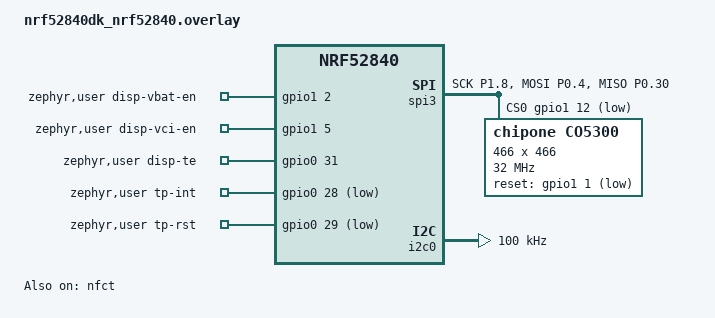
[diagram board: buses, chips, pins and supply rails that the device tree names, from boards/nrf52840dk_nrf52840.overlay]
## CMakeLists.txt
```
# Rev B bench firmware: AMOLED shield and NFC on an nRF52840-DK.
cmake_minimum_required(VERSION 3.20.0)

find_package(Zephyr REQUIRED HINTS $ENV{ZEPHYR_BASE})
project(dial_bench)

target_sources(app PRIVATE
	src/main.c
	src/power.c
	src/panel.c
	src/touch.c
	src/nfc.c
)
```

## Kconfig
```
# Rev B bench firmware options.

mainmenu "dial-me-spinner rev B bench"

config BENCH_AUTO_POWERUP
	bool "Run the panel bring-up sequence at boot"
	default y
	help
	  Switch VBAT on, then VCI_EN, then initialise the CO5300 and show
	  colour bars, logging each step. Turn it off to start with the panel
	  unpowered and run "power up" by hand, e.g. with a PPK2 already logging.

config BENCH_VBAT_SETTLE_MS
	int "Wait after DISP_VBAT_EN before VCI_EN (ms)"
	default 10
	help
	  U1 (TPS22917, CT = 1 nF) reaches 90 % in about 4 ms (SLVSDW8B 7.6,
	  3.8-4 us/pF). 10 ms leaves margin. Measure on the bench.

config BENCH_VCI_SETTLE_MS
	int "Wait after VCI_EN before the panel reset and init (ms)"
	default 20
	help
	  Time for the tail's power chip (BV6802W, no datasheet found) to bring
	  up the AMOLED rails. A guess: measure it on the bench.

config BENCH_SLPOUT_MS
	int "Wait after sleep-out (11h) before display-on (29h) (ms)"
	default 120
	help
	  The usual DCS figure. The Zephyr driver sends 29h straight after 11h,
	  so the app sends 29h again after this wait.

source "Kconfig.zephyr"
```

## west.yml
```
# Minimal west manifest for the rev B bench firmware.
#
# Zephyr v4.5.0-rc3 is the first tag whose chipone,co5300 driver speaks SPI
# (commit 2afc59f6, "drivers: display: co5300: add SPI bus support"). v4.4.2,
# the newest final release, has only the MIPI-DSI variant. Move to v4.5.0 when
# it is tagged.
#
# Only the modules an nRF52840 build needs are fetched (name-allowlist), not
# the ~70 projects of a full `west update`. setup-zephyr.sh copies this file
# to ~/zephyrproject/manifest/west.yml and runs `west init -l` on it.
manifest:
  remotes:
    - name: zephyrproject-rtos
      url-base: https://github.com/zephyrproject-rtos

  projects:
    - name: zephyr
      remote: zephyrproject-rtos
      revision: v4.5.0-rc3
      import:
        name-allowlist:
          - cmsis        # CMSIS-Core headers
          - cmsis_6      # CMSIS 6, used by Cortex-M builds
          - hal_nordic   # nrfx: SPIM, TWIM, GPIOTE, NFCT

  self:
    path: manifest
```

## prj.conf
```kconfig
# Rev B bench firmware, nRF52840-DK. Shell and log share the DK VCOM (uart0, 115200):
# the shell carries the log, so there is no separate UART log backend.

CONFIG_GPIO=y
CONFIG_SPI=y
CONFIG_I2C=y
CONFIG_DISPLAY=y

# nrfx NFCT driven directly by the app's Type 2 tag (src/nfc.c).
CONFIG_NRFX_NFCT=y

CONFIG_SHELL=y
CONFIG_SHELL_STACK_SIZE=4096
CONFIG_SHELL_CMD_BUFF_SIZE=128
CONFIG_SHELL_ARGC_MAX=20
CONFIG_I2C_SHELL=y
CONFIG_GPIO_SHELL=y

CONFIG_LOG=y
CONFIG_LOG_BUFFER_SIZE=2048

CONFIG_MAIN_STACK_SIZE=4096

# DWT cycle counter for TE and frame timing (64 MHz, rather than the 32 kHz RTC).
CONFIG_TIMING_FUNCTIONS=y

CONFIG_REBOOT=y
```

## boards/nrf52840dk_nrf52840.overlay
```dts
/*
 * Rev B bench: the AMOLED shield (hardware/kicad/bench_display) on an nRF52840-DK.
 *
 * Pins are the shield's DK_PINS (hardware/design/sheets/bench_display.py).
 * hardware/design/tests/test_bench_display.py holds this file to the routed
 * board's J1 nets and to SPEC §4's low-frequency pin list, so neither side can
 * drift alone.
 *
 * The two 32 MHz lines sit on the only full-speed header pins, SCK P1.08 (D7)
 * and SIO0 P0.04 (A1). Zephyr's arduino_spi pins (P1.13-P1.15) are
 * low-frequency pins, so SPIM3 gets its own pinctrl here.
 */

#include <zephyr/dt-bindings/display/panel.h>

/ {
	chosen {
		zephyr,display = &co5300;
	};

	zephyr,user {
		/* U1 TPS22917 ON. 100k pull-down (R2) holds VBAT off through reset. */
		disp-vbat-en-gpios = <&gpio1 2 GPIO_ACTIVE_HIGH>;	/* D1 */
		/* Panel VCI_EN, the tail's power chip. 100k pull-down (R9). */
		disp-vci-en-gpios = <&gpio1 5 GPIO_ACTIVE_HIGH>;	/* D4 */
		/*
		 * TE belongs to the app, not the driver: the driver's write waits on
		 * TE with K_FOREVER, so a panel that never pulses TE would hang the
		 * shell. The app times TE itself and syncs with a timeout.
		 */
		disp-te-gpios = <&gpio0 31 GPIO_ACTIVE_HIGH>;		/* A5 */
		/* Touch: open-drain, R22/R23 100k pull-ups to TP_VIO. */
		tp-int-gpios = <&gpio0 28 GPIO_ACTIVE_LOW>;		/* A2 */
		tp-rst-gpios = <&gpio0 29 GPIO_ACTIVE_LOW>;		/* A3 */
	};
};

&pinctrl {
	spi3_disp: spi3_disp {
		group1 {
			psels = <NRF_PSEL(SPIM_SCK, 1, 8)>,		/* D7, DISP_SCK */
				<NRF_PSEL(SPIM_MOSI, 0, 4)>;		/* A1, DISP_SIO0 */
			nordic,drive-mode = <NRF_DRIVE_H0H1>;
		};
		group2 {
			/* A4, DISP_SIO1: read-back only, on a low-frequency pin. */
			psels = <NRF_PSEL(SPIM_MISO, 0, 30)>;
		};
	};

	spi3_disp_sleep: spi3_disp_sleep {
		group1 {
			psels = <NRF_PSEL(SPIM_SCK, 1, 8)>,
				<NRF_PSEL(SPIM_MOSI, 0, 4)>,
				<NRF_PSEL(SPIM_MISO, 0, 30)>;
			low-power-enable;
		};
	};
};

/*
 * The DK enables spi1 on P0.31 (SCK), P0.30 (MOSI) and P1.08 (MISO): TE, SIO1
 * and the display SCK. Disable it. uart1 (arduino_serial, P1.01/P1.02, the
 * reset and VBAT_EN lines) is disabled in the DK's devicetree already; keep it so.
 */
&spi1 {
	status = "disabled";
};

&uart1 {
	status = "disabled";
};

&spi3 {
	status = "okay";
	pinctrl-0 = <&spi3_disp>;
	pinctrl-1 = <&spi3_disp_sleep>;
	pinctrl-names = "default", "sleep";
	cs-gpios = <&gpio1 12 GPIO_ACTIVE_LOW>;			/* D10, DISP_CS_N */

	co5300: display@0 {
		compatible = "chipone,co5300";
		reg = <0>;
		spi-max-frequency = <DT_FREQ_M(32)>;
		width = <466>;
		height = <466>;
		pixel-format = <PANEL_PIXEL_FORMAT_RGB_565>;
		reset-gpios = <&gpio1 1 GPIO_ACTIVE_LOW>;	/* D0, DISP_RES_N */
		/*
		 * The driver would init at boot, before the app has switched VBAT
		 * and VCI_EN on. The app calls device_init() after the rails.
		 */
		zephyr,deferred-init;
	};
};

/* Touch: arduino_i2c (i2c0) is already P0.26/P0.27 on the DK. TWIM for EasyDMA. */
&i2c0 {
	compatible = "nordic,nrf-twim";
	clock-frequency = <I2C_BITRATE_STANDARD>;
};

/* NFCT: the DK's own NFC antenna connector, P0.09/P0.10, already "okay". */
&nfct {
	status = "okay";
};
```

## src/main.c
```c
/*
 * Rev B bench firmware: the 1.75 in CO5300 AMOLED shield and the NFC bench
 * boards on an nRF52840-DK. See firmware/bench/README.md for the commands and
 * docs/rev-b-bench.md for the boards.
 */
#include <zephyr/kernel.h>
#include <zephyr/logging/log.h>

#include "bench.h"

LOG_MODULE_REGISTER(bench, LOG_LEVEL_INF);

int main(void)
{
	int ret;

	LOG_INF("dial-me-spinner rev B bench firmware");

	ret = power_init();
	if (ret < 0) {
		LOG_ERR("power rails: %d", ret);
		return 0;
	}
	ret = panel_init();
	if (ret < 0) {
		LOG_ERR("panel: %d", ret);
	}
	ret = touch_init();
	if (ret < 0) {
		LOG_WRN("touch: %d", ret);
	}
	ret = nfc_init();
	if (ret < 0) {
		LOG_WRN("nfc: %d", ret);
	}

	if (IS_ENABLED(CONFIG_BENCH_AUTO_POWERUP)) {
		ret = power_up();
		if (ret == 0) {
			(void)panel_test_bars();
		}
	} else {
		LOG_INF("panel unpowered (CONFIG_BENCH_AUTO_POWERUP=n): run \"power up\"");
	}

	LOG_INF("ready: type \"help\", or \"power\", \"disp\", \"te\", \"touch\", \"nfc\"");
	return 0;
}
```

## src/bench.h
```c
/*
 * Rev B bench firmware: shared declarations.
 */
#ifndef BENCH_H_
#define BENCH_H_

#include <stdbool.h>
#include <stdint.h>
#include <zephyr/devicetree.h>

#define DISP_NODE DT_NODELABEL(co5300)
#define USER_NODE DT_PATH(zephyr_user)

/* power.c */
int power_init(void);
int power_vbat(bool on);
int power_vci_en(bool on);
bool power_vbat_get(void);
bool power_vci_en_get(void);
/* Full bring-up: VBAT, VCI_EN, reset + init, sleep-out wait, display on. */
int power_up(void);
/* Display off, sleep in, VCI_EN low, VBAT off. */
int power_down(void);

/* panel.c */
int panel_init(void);
/* First init through the Zephyr driver (device_init on the deferred node). */
int panel_driver_init(void);
/* Re-init after a power cycle: the driver can only be initialised once. */
int panel_raw_init(void);
int panel_cmd(uint8_t cmd, const uint8_t *data, size_t len);
int panel_display_on(bool on);
int panel_test_bars(void);

/* touch.c */
int touch_init(void);

/* nfc.c */
int nfc_init(void);

#endif /* BENCH_H_ */
```

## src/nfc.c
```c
/*
 * NFC Type 2 tag on the nRF52840's NFCT, for the coil plate and base read-range
 * tests (docs/rev-b-bench.md §2, "Phones").
 *
 * The usual route is nrfxlib's nfc_t2t library, but nrfxlib is part of the nRF
 * Connect SDK, not of the Zephyr tree this app builds on. So this is a minimal
 * read-only Type 2 tag on nrfx_nfct (hal_nordic), which is: the NFCT hardware
 * does anticollision and CRC, and the app answers READ (30h) and HALT (50h).
 * That is all a phone needs to read an NDEF message from a static tag.
 * Nothing else is answered (no WRITE, no NTAG GET_VERSION), so a phone sees a
 * plain read-only Type 2 tag.
 *
 * Wiring: the plate's J2 to the DK's NFC connector (P0.09/P0.10). The DK
 * leaves UICR.NFCPINS in NFC mode.
 */
#include <stdlib.h>
#include <string.h>

#include <zephyr/drivers/clock_control/nrf_clock_control.h>
#include <zephyr/irq.h>
#include <zephyr/kernel.h>
#include <zephyr/logging/log.h>
#include <zephyr/shell/shell.h>

#include <nrfx_nfct.h>

#include "bench.h"

LOG_MODULE_REGISTER(nfc, LOG_LEVEL_INF);

#define T2T_READ 0x30
#define T2T_HALT 0x50
#define T2T_DATA_BYTES 128			/* CC size field = 128 / 8 */
#define T2T_MEM_BYTES (16 + T2T_DATA_BYTES)	/* 4 header blocks + data area */
#define NDEF_URI_HTTPS 0x04

static const char default_uri[] = "github.com/tyevco/dial-me-spinner";

static uint8_t mem[T2T_MEM_BYTES];
static uint8_t rx_buf[16];
static uint8_t tx_buf[16];
static uint8_t nfcid1[NRFX_NFCT_NFCID1_DOUBLE_SIZE];

static bool running;
static volatile uint32_t n_field, n_select, n_read, n_other, n_rxerr;
static const struct device *const hfclk = DEVICE_DT_GET(DT_NODELABEL(hfclk));

static void rx_next(void)
{
	nrfx_nfct_data_desc_t d = {.p_data = rx_buf, .data_size = sizeof(rx_buf)};

	(void)nrfx_nfct_rx(&d);
}

static void handle_frame(const nrfx_nfct_evt_rx_frameend_t *f)
{
	const uint8_t *p = f->rx_data.p_data;

	if (f->rx_status != 0 || f->rx_data.data_size == 0) {
		n_rxerr++;
		rx_next();
		return;
	}
	if (p[0] == T2T_READ && f->rx_data.data_size >= 2) {
		/* 16 bytes from block p[1], rolling over at the end of memory. */
		uint32_t off = (uint32_t)p[1] * 4U;

		for (int i = 0; i < 16; i++) {
			tx_buf[i] = mem[(off + i) % sizeof(mem)];
		}
		nrfx_nfct_data_desc_t d = {.p_data = tx_buf, .data_size = 16};

		n_read++;
		if (nrfx_nfct_tx(&d, NRF_NFCT_FRAME_DELAY_MODE_WINDOWGRID) != 0) {
			rx_next();
		}
		return;
	}
	if (p[0] == T2T_HALT) {
		nrfx_nfct_init_substate_force(NRFX_NFCT_ACTIVE_STATE_SLEEP);
		return;
	}
	/* Anything else: no answer, as a read-only tag that ignores it. */
	n_other++;
	rx_next();
}

static void nfct_handler(const nrfx_nfct_evt_t *evt)
{
	switch (evt->evt_id) {
	case NRFX_NFCT_EVT_FIELD_DETECTED:
		n_field++;
		/* HFXO is held on while the tag runs, so activate straight away. */
		nrfx_nfct_state_force(NRFX_NFCT_STATE_ACTIVATED);
		break;
	case NRFX_NFCT_EVT_SELECTED:
		n_select++;
		rx_next();
		break;
	case NRFX_NFCT_EVT_RX_FRAMEEND:
		handle_frame(&evt->params.rx_frameend);
		break;
	case NRFX_NFCT_EVT_TX_FRAMEEND:
		rx_next();
		break;
	case NRFX_NFCT_EVT_FIELD_LOST:
	default:
		break;
	}
}

/* Lay out the tag memory: UID, lock bytes, CC, then an NDEF TLV with one URI record. */
static int build_tag(const char *uri)
{
	size_t ul = strlen(uri);
	size_t payload = 1 + ul;			/* URI prefix code + text */
	size_t rec = 4 + payload;			/* short record header */
	uint8_t *d = &mem[16];

	if (3 + rec > T2T_DATA_BYTES - 1) {
		return -E2BIG;
	}
	memset(mem, 0, sizeof(mem));
	/* Block 0-2: UID0-2, BCC0 = 88h ^ UID0-2, UID3-6, BCC1, internal, lock 0, lock 1. */
	mem[0] = nfcid1[0];
	mem[1] = nfcid1[1];
	mem[2] = nfcid1[2];
	mem[3] = 0x88 ^ nfcid1[0] ^ nfcid1[1] ^ nfcid1[2];
	memcpy(&mem[4], &nfcid1[3], 4);
	mem[8] = nfcid1[3] ^ nfcid1[4] ^ nfcid1[5] ^ nfcid1[6];
	/* Block 3: capability container. NDEF 1.0, data area size, read-only access. */
	mem[12] = 0xE1;
	mem[13] = 0x10;
	mem[14] = T2T_DATA_BYTES / 8;
	mem[15] = 0x0F;
	/* NDEF TLV */
	d[0] = 0x03;
	d[1] = (uint8_t)rec;
	d[2] = 0xD1;				/* MB ME SR, TNF well-known */
	d[3] = 0x01;				/* type length */
	d[4] = (uint8_t)payload;
	d[5] = 'U';
	d[6] = NDEF_URI_HTTPS;
	memcpy(&d[7], uri, ul);
	d[2 + rec] = 0xFE;			/* terminator TLV */
	return 0;
}

int nfc_init(void)
{
	nrfx_nfct_config_t cfg = {
		/* RX/TX events to forward; field, select and error events always come. */
		.rxtx_int_mask = NRFX_NFCT_EVT_RX_FRAMEEND | NRFX_NFCT_EVT_TX_FRAMEEND,
		.cb = nfct_handler,
		.irq_priority = 2,
	};
	int ret;

	IRQ_CONNECT(DT_IRQN(DT_NODELABEL(nfct)), 2, nrfx_isr, nrfx_nfct_irq_handler, 0);
#if NRF_ERRATA_STATIC_CHECK(52, 79) || NRF_ERRATA_STATIC_CHECK(52, 190)
	/* nrfx_nfct's field-detect workaround runs on TIMER4 (NRFX_NFCT_CONFIG_TIMER_INSTANCE_ID). */
	IRQ_CONNECT(TIMER4_IRQn, 2, nrfx_isr, nrfx_nfct_workaround_timer_handler, 0);
#endif

	ret = nrfx_nfct_init(&cfg);
	if (ret < 0) {
		return ret;
	}

	/* A 7-byte NFCID1: the FICR's NFC tag header (5Fh = Nordic, then a device-unique part). */
	ret = nrfx_nfct_nfcid1_default_bytes_get(nfcid1, sizeof(nfcid1));
	if (ret < 0) {
		return ret;
	}
	nrfx_nfct_param_t p = {
		.id = NRFX_NFCT_PARAM_ID_NFCID1,
		.data.nfcid1 = {.p_id = nfcid1, .id_size = sizeof(nfcid1)},
	};

	ret = nrfx_nfct_parameter_set(&p);
	if (ret < 0) {
		return ret;
	}
	p.id = NRFX_NFCT_PARAM_ID_SEL_RES;
	p.data.sel_res_protocol = 0;	/* Type 2: no ISO-DEP */
	ret = nrfx_nfct_parameter_set(&p);
	if (ret < 0) {
		return ret;
	}
	return build_tag(default_uri);
}

static int cmd_start(const struct shell *sh, size_t argc, char **argv)
{
	int ret;

	if (running) {
		nrfx_nfct_disable();
	} else {
		/* The NFCT needs HFXO when activated; hold it for the whole test. */
		ret = nrf_clock_control_request_sync(hfclk, NULL, K_MSEC(100));
		if (ret < 0) {
			shell_error(sh, "HFXO request: %d", ret);
			return ret;
		}
	}
	ret = build_tag(argc > 1 ? argv[1] : default_uri);
	if (ret < 0) {
		shell_error(sh, "URI too long for the %d-byte data area", T2T_DATA_BYTES);
		/* HFXO is held here either way: requested above, or still held from the last start. */
		(void)nrf_clock_control_release(hfclk, NULL);
		running = false;
		return ret;
	}
	n_field = n_select = n_read = n_other = n_rxerr = 0;
	nrfx_nfct_enable();
	running = true;
	shell_print(sh, "Type 2 tag on: https://%s (UID %02X%02X%02X%02X%02X%02X%02X; HFXO held on)",
		    argc > 1 ? argv[1] : default_uri, nfcid1[0], nfcid1[1], nfcid1[2], nfcid1[3],
		    nfcid1[4], nfcid1[5], nfcid1[6]);
	return 0;
}

static int cmd_stop(const struct shell *sh, size_t argc, char **argv)
{
	ARG_UNUSED(argc);
	ARG_UNUSED(argv);
	if (running) {
		nrfx_nfct_disable();
		(void)nrf_clock_control_release(hfclk, NULL);
		running = false;
	}
	shell_print(sh, "tag off");
	return 0;
}

static int cmd_status(const struct shell *sh, size_t argc, char **argv)
{
	ARG_UNUSED(argc);
	ARG_UNUSED(argv);
	shell_print(sh, "tag %s, field now %s; since start: %u fields, %u selects, %u reads, "
		    "%u other frames, %u RX errors",
		    running ? "on" : "off", (running && nrfx_nfct_field_check()) ? "on" : "off",
		    n_field, n_select, n_read, n_other, n_rxerr);
	return 0;
}

static int cmd_dump(const struct shell *sh, size_t argc, char **argv)
{
	ARG_UNUSED(argc);
	ARG_UNUSED(argv);
	for (size_t b = 0; b < sizeof(mem) / 4; b++) {
		shell_print(sh, "  block %2u: %02X %02X %02X %02X", (unsigned int)b, mem[4 * b],
			    mem[4 * b + 1], mem[4 * b + 2], mem[4 * b + 3]);
	}
	return 0;
}

SHELL_STATIC_SUBCMD_SET_CREATE(nfc_cmds,
	SHELL_CMD_ARG(start, NULL, "start [uri without https://]: run the Type 2 tag",
		      cmd_start, 1, 1),
	SHELL_CMD(stop, NULL, "Stop the tag and release HFXO", cmd_stop),
	SHELL_CMD(status, NULL, "Field, select and read counters", cmd_status),
	SHELL_CMD(dump, NULL, "Print the tag memory by block", cmd_dump),
	SHELL_SUBCMD_SET_END);

SHELL_CMD_REGISTER(nfc, &nfc_cmds, "NFC Type 2 tag (NFCT, P0.09/P0.10)", NULL);
```

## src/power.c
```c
/*
 * Panel power rails and the bring-up order.
 *
 * Order (docs/rev-b-bench.md, docs/display-study.md §3.5):
 *   1. DISP_VBAT_EN high: U1 (TPS22917) connects VBAT_IN to the panel's VBAT.
 *   2. DISP_VCI_EN high: the tail's power chip (BV6802W) starts.
 *   3. Reset and CO5300 init (the Zephyr driver the first time).
 *   4. Sleep-out wait, then display on.
 * Power-down runs it backwards: display off, sleep in, VCI_EN low, VBAT off.
 *
 * VCI, IOVCC and TP_VDD are not switched: they come from the DK's VDD through
 * the J5 shunt, so the CO5300 logic stays powered while VBAT and VCI_EN cycle.
 */
#include <stdlib.h>
#include <string.h>

#include <zephyr/drivers/gpio.h>
#include <zephyr/kernel.h>
#include <zephyr/logging/log.h>
#include <zephyr/shell/shell.h>

#include "bench.h"

LOG_MODULE_REGISTER(power, LOG_LEVEL_INF);

static const struct gpio_dt_spec vbat_en = GPIO_DT_SPEC_GET(USER_NODE, disp_vbat_en_gpios);
static const struct gpio_dt_spec vci_en = GPIO_DT_SPEC_GET(USER_NODE, disp_vci_en_gpios);

static bool driver_done;
static bool panel_up;

int power_init(void)
{
	int ret;

	if (!gpio_is_ready_dt(&vbat_en) || !gpio_is_ready_dt(&vci_en)) {
		return -ENODEV;
	}
	/* Both start low, matching the R2/R9 pull-downs that held them through reset. */
	ret = gpio_pin_configure_dt(&vbat_en, GPIO_OUTPUT_INACTIVE);
	if (ret == 0) {
		ret = gpio_pin_configure_dt(&vci_en, GPIO_OUTPUT_INACTIVE);
	}
	return ret;
}

int power_vbat(bool on)
{
	LOG_INF("DISP_VBAT_EN (P1.02) %s", on ? "on" : "off");
	return gpio_pin_set_dt(&vbat_en, on);
}

int power_vci_en(bool on)
{
	LOG_INF("DISP_VCI_EN (P1.05) %s", on ? "on" : "off");
	return gpio_pin_set_dt(&vci_en, on);
}

bool power_vbat_get(void)
{
	return gpio_pin_get_dt(&vbat_en) > 0;
}

bool power_vci_en_get(void)
{
	return gpio_pin_get_dt(&vci_en) > 0;
}

int power_up(void)
{
	int64_t t0 = k_uptime_get();
	int ret;

	LOG_INF("bring-up 1/4: VBAT switch");
	ret = power_vbat(true);
	if (ret < 0) {
		return ret;
	}
	k_msleep(CONFIG_BENCH_VBAT_SETTLE_MS);

	LOG_INF("bring-up 2/4: VCI_EN (+%lld ms)", k_uptime_get() - t0);
	ret = power_vci_en(true);
	if (ret < 0) {
		return ret;
	}
	k_msleep(CONFIG_BENCH_VCI_SETTLE_MS);

	LOG_INF("bring-up 3/4: reset and CO5300 init (+%lld ms)", k_uptime_get() - t0);
	if (!driver_done) {
		ret = panel_driver_init();
		driver_done = true;	/* device_init() runs once, pass or fail */
	} else {
		ret = panel_raw_init();
	}
	if (ret < 0) {
		LOG_ERR("panel init failed: %d", ret);
		return ret;
	}

	LOG_INF("bring-up 4/4: sleep-out wait %d ms, display on (+%lld ms)",
		CONFIG_BENCH_SLPOUT_MS, k_uptime_get() - t0);
	k_msleep(CONFIG_BENCH_SLPOUT_MS);
	ret = panel_display_on(true);
	if (ret < 0) {
		return ret;
	}
	panel_up = true;
	LOG_INF("bring-up done in %lld ms", k_uptime_get() - t0);
	return 0;
}

int power_down(void)
{
	int ret;

	LOG_INF("power-down: display off (28h), sleep in (10h)");
	ret = panel_display_on(false);
	if (ret == 0) {
		ret = panel_cmd(0x10, NULL, 0);
	}
	if (ret < 0) {
		LOG_WRN("panel commands failed (%d); cutting the rails anyway", ret);
	}
	/* DCS: sleep-in takes up to 120 ms to stop the panel's charge pumps. */
	k_msleep(120);
	(void)power_vci_en(false);
	k_msleep(10);
	(void)power_vbat(false);
	panel_up = false;
	return 0;
}

static int parse_onoff(const struct shell *sh, const char *arg, bool *on)
{
	if (strcmp(arg, "on") == 0 || strcmp(arg, "1") == 0) {
		*on = true;
	} else if (strcmp(arg, "off") == 0 || strcmp(arg, "0") == 0) {
		*on = false;
	} else {
		shell_error(sh, "expected on or off");
		return -EINVAL;
	}
	return 0;
}

static int cmd_status(const struct shell *sh, size_t argc, char **argv)
{
	ARG_UNUSED(argc);
	ARG_UNUSED(argv);
	shell_print(sh, "DISP_VBAT_EN %s, DISP_VCI_EN %s, panel %s",
		    power_vbat_get() ? "on" : "off", power_vci_en_get() ? "on" : "off",
		    panel_up ? "up" : "down");
	return 0;
}

static int cmd_up(const struct shell *sh, size_t argc, char **argv)
{
	ARG_UNUSED(argc);
	ARG_UNUSED(argv);
	int ret = power_up();

	if (ret < 0) {
		shell_error(sh, "bring-up failed: %d", ret);
	}
	return ret;
}

static int cmd_down(const struct shell *sh, size_t argc, char **argv)
{
	ARG_UNUSED(sh);
	ARG_UNUSED(argc);
	ARG_UNUSED(argv);
	return power_down();
}

static int cmd_vbat(const struct shell *sh, size_t argc, char **argv)
{
	bool on;

	ARG_UNUSED(argc);
	if (parse_onoff(sh, argv[1], &on) < 0) {
		return -EINVAL;
	}
	if (!on) {
		panel_up = false;
	}
	return power_vbat(on);
}

static int cmd_vci(const struct shell *sh, size_t argc, char **argv)
{
	bool on;

	ARG_UNUSED(argc);
	if (parse_onoff(sh, argv[1], &on) < 0) {
		return -EINVAL;
	}
	if (!on) {
		panel_up = false;
	}
	return power_vci_en(on);
}

static int cmd_cycle(const struct shell *sh, size_t argc, char **argv)
{
	int off_ms = argc > 1 ? atoi(argv[1]) : 500;

	(void)power_down();
	shell_print(sh, "rails off for %d ms", off_ms);
	k_msleep(off_ms);
	return cmd_up(sh, 1, argv);
}

SHELL_STATIC_SUBCMD_SET_CREATE(power_cmds,
	SHELL_CMD(status, NULL, "Rail and panel state", cmd_status),
	SHELL_CMD(up, NULL, "Bring-up: VBAT, VCI_EN, reset + init, sleep-out, display on", cmd_up),
	SHELL_CMD(down, NULL, "Display off, sleep in, VCI_EN off, VBAT off", cmd_down),
	SHELL_CMD_ARG(cycle, NULL, "cycle [off_ms]: down, wait, up", cmd_cycle, 1, 1),
	SHELL_CMD_ARG(vbat, NULL, "vbat on|off: DISP_VBAT_EN alone (U1)", cmd_vbat, 2, 0),
	SHELL_CMD_ARG(vci, NULL, "vci on|off: DISP_VCI_EN alone", cmd_vci, 2, 0),
	SHELL_SUBCMD_SET_END);

SHELL_CMD_REGISTER(power, &power_cmds, "Panel power rails and bring-up", NULL);
```

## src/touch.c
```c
/*
 * Touch controller over raw I2C on i2c0 (P0.26 SDA / P0.27 SCL), with TP_INT
 * on P0.28 and TP_RST_N on P0.29.
 *
 * The panel carries a Hynitron CST9217 (Viewe and Huaxin parts, the Waveshare
 * board) or a CST820B (TailorPixels). Zephyr has no CST9217 driver, and no
 * datasheet for it was found (display-study.md §3.1, §3.6), so this file
 * talks to it directly. The register layout follows the third-party drivers
 * (Espressif's esp_lcd_touch_cst9217, Lewis He's SensorLib) and is
 * UNVERIFIED: "touch raw" reads any register when it turns out different.
 *
 *   CST9217 (addr 0x5A, 16-bit registers, big-endian)
 *     D101h write: enter command mode; D109h: back to normal mode
 *     D204h read 4: project id (LE16), chip type (LE16, expect 9217h)
 *     D000h read 10: touch frame. [5] & 7Fh = points, [6] = ABh ack marker,
 *       point 0 at [0..4]: [0] & 0Fh = 6 when pressed,
 *       x = [1] << 4 | [3] >> 4, y = [2] << 4 | [3] & 0Fh.
 *       Then write D0h 00h ABh to release the frame.
 *   CST816/CST820 (addr 0x15, 8-bit registers)
 *     01h read 6: gesture, points, XH (bits 3:0), XL, YH (bits 3:0), YL
 *     A7h/A8h/A9h: chip id, project id, firmware version
 *
 * Touch I2C voltage (the issue #5 question): as fitted, R14/R15 tie the bus
 * to the DK at VDD (3.0 V). The 1.8 V option goes through U2 (PCA9306); this
 * code is the same for both.
 */
#include <stdlib.h>
#include <string.h>

#include <zephyr/drivers/gpio.h>
#include <zephyr/drivers/i2c.h>
#include <zephyr/kernel.h>
#include <zephyr/logging/log.h>
#include <zephyr/shell/shell.h>

#include "bench.h"

LOG_MODULE_REGISTER(touch, LOG_LEVEL_INF);

#define CST9217_ADDR 0x5A
#define CST8XX_ADDR 0x15

static const struct device *const i2c = DEVICE_DT_GET(DT_NODELABEL(i2c0));
static const struct gpio_dt_spec tp_int = GPIO_DT_SPEC_GET(USER_NODE, tp_int_gpios);
static const struct gpio_dt_spec tp_rst = GPIO_DT_SPEC_GET(USER_NODE, tp_rst_gpios);

static uint8_t addr = CST9217_ADDR;
static struct gpio_callback int_cb;
static K_SEM_DEFINE(int_sem, 0, 1);
static volatile uint32_t int_count;

static void int_isr(const struct device *port, struct gpio_callback *cb, uint32_t pins)
{
	ARG_UNUSED(port);
	ARG_UNUSED(cb);
	ARG_UNUSED(pins);
	int_count++;
	k_sem_give(&int_sem);
}

int touch_init(void)
{
	int ret;

	if (!device_is_ready(i2c) || !gpio_is_ready_dt(&tp_int) || !gpio_is_ready_dt(&tp_rst)) {
		return -ENODEV;
	}
	/* Hold the controller in reset until "touch reset": the panel may be unpowered. */
	ret = gpio_pin_configure_dt(&tp_rst, GPIO_OUTPUT_ACTIVE);
	ret = ret ? ret : gpio_pin_configure_dt(&tp_int, GPIO_INPUT);
	if (ret < 0) {
		return ret;
	}
	gpio_init_callback(&int_cb, int_isr, BIT(tp_int.pin));
	ret = gpio_add_callback(tp_int.port, &int_cb);
	return ret ? ret : gpio_pin_interrupt_configure_dt(&tp_int, GPIO_INT_EDGE_TO_ACTIVE);
}

static bool is_16bit(void)
{
	return addr != CST8XX_ADDR;
}

static int reg_read(uint16_t reg, uint8_t *buf, size_t len)
{
	uint8_t r[2] = {reg >> 8, reg & 0xFF};

	if (is_16bit()) {
		return i2c_write_read(i2c, addr, r, 2, buf, len);
	}
	return i2c_write_read(i2c, addr, &r[1], 1, buf, len);
}

static int reg_write(uint16_t reg, const uint8_t *data, size_t len)
{
	uint8_t b[2 + 8];

	if (len > 8) {
		return -EINVAL;
	}
	b[0] = reg >> 8;
	b[1] = reg & 0xFF;
	if (len) {
		memcpy(&b[2], data, len);
	}
	if (is_16bit()) {
		return i2c_write(i2c, b, 2 + len, addr);
	}
	return i2c_write(i2c, &b[1], 1 + len, addr);
}

static void dump(const struct shell *sh, const uint8_t *b, size_t n)
{
	for (size_t i = 0; i < n; i++) {
		shell_fprintf(sh, SHELL_NORMAL, " %02X", b[i]);
	}
	shell_print(sh, "");
}

/* Returns 1 with a point, 0 without, negative on a bus error. */
static int read_point(const struct shell *sh, uint16_t *x, uint16_t *y, bool verbose)
{
	uint8_t d[10];
	int ret;

	if (is_16bit()) {
		static const uint8_t ack = 0xAB;

		ret = reg_read(0xD000, d, sizeof(d));
		if (ret < 0) {
			return ret;
		}
		(void)reg_write(0xD000, &ack, 1);
		if (verbose) {
			shell_fprintf(sh, SHELL_NORMAL, "D000h:");
			dump(sh, d, sizeof(d));
		}
		if (d[6] != 0xAB) {
			if (verbose) {
				shell_warn(sh, "no ABh marker at [6]: layout differs from the "
					   "third-party drivers");
			}
			return 0;
		}
		if ((d[5] & 0x7F) == 0 || (d[0] & 0x0F) != 0x06) {
			return 0;
		}
		*x = (d[1] << 4) | (d[3] >> 4);
		*y = (d[2] << 4) | (d[3] & 0x0F);
		return 1;
	}

	ret = reg_read(0x01, d, 6);
	if (ret < 0) {
		return ret;
	}
	if (verbose) {
		shell_fprintf(sh, SHELL_NORMAL, "01h:");
		dump(sh, d, 6);
	}
	if (d[1] == 0) {
		return 0;
	}
	*x = ((d[2] & 0x0F) << 8) | d[3];
	*y = ((d[4] & 0x0F) << 8) | d[5];
	return 1;
}

static int cmd_reset(const struct shell *sh, size_t argc, char **argv)
{
	uint32_t wait = argc > 1 ? strtoul(argv[1], NULL, 0) : 200;

	ARG_UNUSED(argv);
	gpio_pin_set_dt(&tp_rst, 1);
	k_msleep(10);
	gpio_pin_set_dt(&tp_rst, 0);
	k_msleep(wait);
	shell_print(sh, "TP_RST_N pulsed 10 ms low, waited %u ms; TP_INT is %s", wait,
		    gpio_pin_get_dt(&tp_int) ? "asserted (low)" : "idle (high)");
	return 0;
}

static int cmd_scan(const struct shell *sh, size_t argc, char **argv)
{
	uint8_t b;
	int found = 0;

	ARG_UNUSED(argc);
	ARG_UNUSED(argv);
	for (uint8_t a = 0x08; a < 0x78; a++) {
		if (i2c_read(i2c, &b, 1, a) == 0) {
			shell_print(sh, "  0x%02X answers%s", a,
				    a == CST9217_ADDR ? " (CST9217?)" :
				    a == CST8XX_ADDR ? " (CST816/CST820?)" : "");
			found++;
		}
	}
	shell_print(sh, "%d device(s) on i2c0 (P0.26/P0.27)", found);
	return 0;
}

static int cmd_addr(const struct shell *sh, size_t argc, char **argv)
{
	if (argc > 1) {
		addr = strtoul(argv[1], NULL, 16);
	}
	shell_print(sh, "touch address 0x%02X, %s registers", addr, is_16bit() ? "16-bit" : "8-bit");
	return 0;
}

static int cmd_id(const struct shell *sh, size_t argc, char **argv)
{
	uint8_t d[4];
	int ret;

	ARG_UNUSED(argc);
	ARG_UNUSED(argv);
	if (is_16bit()) {
		ret = reg_write(0xD101, NULL, 0);	/* command mode */
		k_msleep(10);
		ret = ret ? ret : reg_read(0xD204, d, 4);
		(void)reg_write(0xD109, NULL, 0);	/* normal mode */
		if (ret == 0) {
			shell_print(sh, "D204h: project %04Xh, chip type %04Xh (CST9217 = 9217h)",
				    d[0] | (d[1] << 8), d[2] | (d[3] << 8));
		}
	} else {
		ret = reg_read(0xA7, d, 3);
		if (ret == 0) {
			shell_print(sh, "chip id %02Xh, project %02Xh, firmware %02Xh", d[0], d[1],
				    d[2]);
		}
	}
	if (ret < 0) {
		shell_error(sh, "no answer at 0x%02X (%d): try \"touch reset\", \"touch scan\"",
			    addr, ret);
	}
	return ret;
}

static int cmd_read(const struct shell *sh, size_t argc, char **argv)
{
	uint16_t x, y;
	int ret;

	ARG_UNUSED(argc);
	ARG_UNUSED(argv);
	ret = read_point(sh, &x, &y, true);
	if (ret < 0) {
		shell_error(sh, "read failed: %d", ret);
	} else if (ret == 0) {
		shell_print(sh, "no touch (TP_INT %s, %u INT edges so far)",
			    gpio_pin_get_dt(&tp_int) ? "low" : "high", int_count);
	} else {
		shell_print(sh, "touch at x %u, y %u", x, y);
	}
	return ret < 0 ? ret : 0;
}

static int cmd_watch(const struct shell *sh, size_t argc, char **argv)
{
	uint32_t secs = argc > 1 ? strtoul(argv[1], NULL, 0) : 10;
	int64_t end = k_uptime_get() + secs * 1000LL;
	uint32_t edges0 = int_count, points = 0;

	shell_print(sh, "printing touches for %u s (on TP_INT edges, and every 50 ms)", secs);
	while (k_uptime_get() < end) {
		uint16_t x, y;

		(void)k_sem_take(&int_sem, K_MSEC(50));
		if (read_point(sh, &x, &y, false) == 1) {
			shell_print(sh, "  %6lld ms  x %3u  y %3u", k_uptime_get(), x, y);
			points++;
		}
	}
	shell_print(sh, "%u points, %u TP_INT edges", points, int_count - edges0);
	return 0;
}

static int cmd_raw(const struct shell *sh, size_t argc, char **argv)
{
	uint8_t buf[32];
	uint16_t reg = strtoul(argv[1], NULL, 16);
	size_t n = argc > 2 ? CLAMP(strtoul(argv[2], NULL, 0), 1, sizeof(buf)) : 1;
	int ret = reg_read(reg, buf, n);

	if (ret < 0) {
		shell_error(sh, "read failed: %d", ret);
		return ret;
	}
	shell_fprintf(sh, SHELL_NORMAL, "0x%02X reg %04Xh:", addr, reg);
	dump(sh, buf, n);
	return 0;
}

SHELL_STATIC_SUBCMD_SET_CREATE(touch_cmds,
	SHELL_CMD_ARG(reset, NULL, "reset [wait_ms]: pulse TP_RST_N, then wait", cmd_reset, 1, 1),
	SHELL_CMD(scan, NULL, "Probe every 7-bit address on i2c0", cmd_scan),
	SHELL_CMD_ARG(addr, NULL, "addr [hex]: 5A = CST9217 (16-bit regs), 15 = CST8xx",
		      cmd_addr, 1, 1),
	SHELL_CMD(id, NULL, "Read the chip id", cmd_id),
	SHELL_CMD(read, NULL, "Read one touch frame and decode it", cmd_read),
	SHELL_CMD_ARG(watch, NULL, "watch [s]: print touches as they come", cmd_watch, 1, 1),
	SHELL_CMD_ARG(raw, NULL, "raw <reg hex> [n]: read n bytes from a register",
		      cmd_raw, 2, 1),
	SHELL_SUBCMD_SET_END);

SHELL_CMD_REGISTER(touch, &touch_cmds, "Touch controller (raw I2C)", NULL);
```
